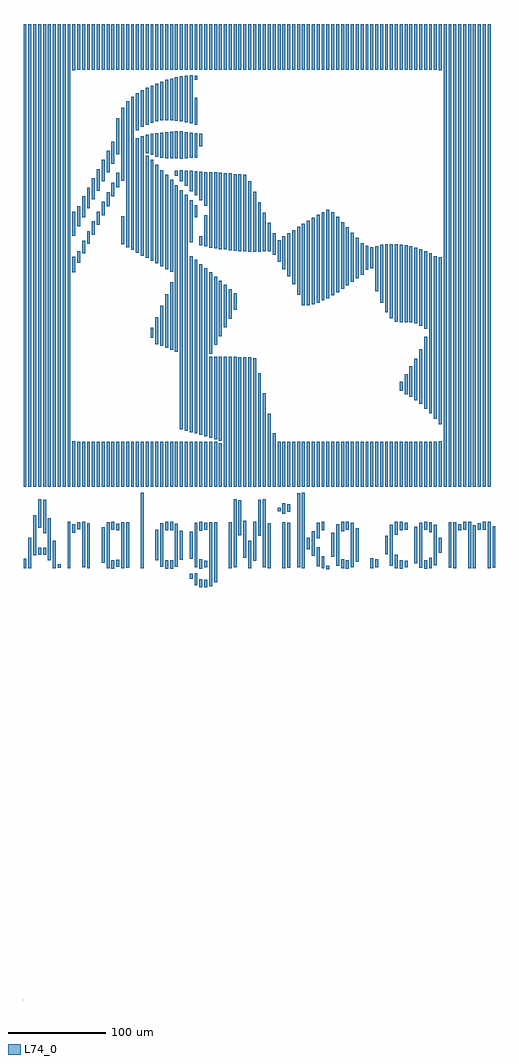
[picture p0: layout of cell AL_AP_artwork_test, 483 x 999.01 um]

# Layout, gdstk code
import gdstk
lib = gdstk.Library(unit=1e-6, precision=1e-09)
def R(c, l, rs):  # rectangles x0, y0, x1, y1
    for r in rs: c.add(gdstk.rectangle(r[:2], r[2:], *l))
def A(c, l, x, y, w, h, nx, ny, dx, dy):  # array of equal rectangles
    R(c, l, [(x+i*dx, y+j*dy, x+i*dx+w, y+j*dy+h) for i in range(nx) for j in range(ny)])
L74_0 = (74, 0)

al_ap_artwork_test = lib.new_cell('AL_AP_artwork_test')
A(al_ap_artwork_test, L74_0, 0.12, 0.985, 0.003, 0.003, 18, 1, 0.005, 0)
A(al_ap_artwork_test, L74_0, 0.12, 0.99, 0.003, 0.003, 21, 1, 0.005, 0)
A(al_ap_artwork_test, L74_0, 0, 526.5, 3, 473.5, 10, 1, 5, 0)
A(al_ap_artwork_test, L74_0, 55, 526.5, 3, 46, 29, 1, 5, 0)
A(al_ap_artwork_test, L74_0, 205, 526.5, 3, 133, 3, 1, 5, 0)
A(al_ap_artwork_test, L74_0, 220, 526.5, 3, 132.5, 3, 1, 5, 0)
A(al_ap_artwork_test, L74_0, 260, 526.5, 3, 46, 33, 1, 5, 0)
A(al_ap_artwork_test, L74_0, 430, 526.5, 3, 473.5, 10, 1, 5, 0)
A(al_ap_artwork_test, L74_0, 55, 953, 3, 47, 74, 1, 5, 0)
R(al_ap_artwork_test, L74_0, [(180,423.5,183,431.5), (185,423.5,188,431), (190,424.5,193,490), (175,425.5,178,438), (195,428.5,198,490), (170,432,173,437.5), (310,442,313,445.5), (90,442.5,93,451), (145,442.5,148,451), (150,442.5,153,451), (180,442.5,183,452), (330,442.5,333,451), (385,442.5,388,451), (410,442.5,413,451), (0,443,3,452.5), (5,443,8,474), (30,443,33,471), (45,443,48,490.5), (65,443,68,489), (85,443,88,490), (100,443,103,490), (120,443,123,520), (210,443,213,490), (230,443,233,471), (250,443,253,489), (265,443,268,490), (285,443,288,520), (305,443,308,455), (325,443,328,452), (355,443,358,453), (380,443,383,456.5), (415,443,418,453.5), (440,443,443,490), (455,443,458,490.5), (460,443,463,487), (475,443,478,490.5), (35,443.5,38,447), (105,443.5,108,490), (270,443.5,273,489.5), (405,443.5,408,489.5), (435,443.5,438,490), (480,443.5,483,486), (60,444,63,490.5), (175,444,178,489.5), (185,444,188,450.5), (215,444,218,513.5), (245,444,248,513.5), (280,444,283,519.5), (335,444,338,489.5), (360,444,363,452), (390,444,393,450.5), (95,444.5,98,451.5), (140,444.5,143,489), (155,444.5,158,488.5), (300,445,303,464.5), (320,445.5,323,488), (375,445.5,378,487.5), (420,446,423,487.5), (400,448,403,485.5), (80,448.5,83,485), (340,449.5,343,484), (235,450.5,238,490.5), (25,451,28,494), (135,451,138,482.5), (160,451.5,163,481.5), (170,452.5,173,480.5), (225,453.5,228,491.5), (315,454.5,318,479), (295,455.5,298,481), (10,456,13,497), (15,456.5,18,464), (20,456.5,23,464), (370,457,373,476), (425,459,428,474), (290,462.5,293,474), (300,473.5,303,489.5), (240,476,243,513), (220,476.5,223,512.5), (380,477,383,490.5), (20,478.5,23,513), (50,479,53,488), (415,480,418,490), (325,481,328,490.5), (180,481.5,183,490.5), (95,482,98,488.5), (145,482,148,490.5), (150,482,153,490.5), (305,482,308,490.5), (385,482,388,490.5), (445,482,448,488), (90,482.5,93,490.5), (185,482.5,188,489.5), (330,482.5,333,490.5), (390,482.5,393,489.5), (410,482.5,413,490.5), (450,482.5,453,490.5), (465,482.5,468,489), (470,482.5,473,490.5), (55,483,58,490), (15,484.5,18,513.5), (265,498.5,268,509.5), (270,500.5,273,508.5), (260,501.5,263,505), (50,526.5,53,573), (200,526.5,203,571), (235,526.5,238,658), (240,526.5,243,642.5), (245,526.5,248,622), (250,526.5,253,601), (255,526.5,258,581), (425,526.5,428,573), (200,573.5,203,659.5), (195,575,198,659.5), (190,576.5,193,659.5), (185,578,188,750), (180,579.5,183,754), (175,581,178,758.5), (170,582,173,762.5), (165,583.5,168,825), (160,585,163,830), (425,590.5,428,761), (420,596,423,762.5), (415,601.5,418,765.5), (410,606,413,680), (405,611.5,408,667), (400,615,403,657.5), (395,618.5,398,649.5), (390,621,393,641.5), (385,624.5,388,634), (190,662.5,193,746), (155,664.5,158,835), (150,666.5,153,735.5), (145,668.5,148,723.5), (140,670.5,143,711.5), (195,671.5,198,741.5), (135,672,138,700), (130,679,133,689), (200,680.5,203,737), (410,688,413,767.5), (205,689.5,208,733), (405,691,408,769.5), (400,693.5,403,771), (385,694.5,388,774), (390,694.5,393,773.5), (395,694.5,398,772.5), (380,695,383,774.5), (210,698.5,213,728.5), (375,699,378,774.5), (370,705,373,774.5), (215,707.5,218,724.5), (285,712,288,795.5), (290,712,293,798.5), (295,713,298,801.5), (300,714.5,303,804.5), (365,714.5,368,774), (305,717,308,807.5), (310,719.5,313,810), (315,722.5,318,807.5), (280,723,283,792.5), (320,725.5,323,802.5), (360,726.5,363,772.5), (325,729,328,797), (330,732.5,333,792), (275,733.5,278,789), (335,736,338,786.5), (340,740,343,781), (270,742,273,786), (345,743.5,348,775.5), (50,746,53,762), (150,746.5,153,840.5), (350,748.5,353,773), (145,749,148,845.5), (265,749,268,782.5), (355,750,358,771.5), (140,752,143,850.5), (135,755,138,856), (55,755.5,58,767.5), (260,756.5,263,778.5), (130,757.5,133,861), (125,760.5,128,865), (120,763,123,885), (255,764,258,786), (60,765.5,63,778), (115,766,118,883), (230,767,233,839), (235,767,238,828.5), (240,767,243,817.5), (220,767.5,223,846), (225,767.5,228,845.5), (245,767.5,248,807), (250,767.5,253,796.5), (215,768,218,846), (210,768.5,213,847), (110,769,113,925.5), (200,769.5,203,847.5), (205,769.5,208,847), (195,770.5,198,848), (190,771,193,848), (105,771.5,108,921), (185,772.5,188,804), (180,773.5,183,782.5), (100,774.5,103,803), (65,775,68,788), (170,776.5,173,819.5), (50,783.5,53,808), (70,784.5,73,798), (55,793,58,813.5), (75,794.5,78,808), (60,802,63,823.5), (175,802,178,814.5), (80,804,83,818), (65,811.5,68,832.5), (85,813.5,88,828), (185,814,188,848.5), (180,819.5,183,849), (70,820.5,73,842), (90,823.5,93,837.5), (175,824.5,178,849.5), (170,829,173,850), (75,829.5,78,851.5), (95,833,98,847.5), (165,834.5,168,850), (80,839,83,861), (160,839,163,850.5), (100,839.5,103,914.5), (155,844.5,158,850), (85,848,88,870.5), (90,857,93,879.5), (160,862,163,890), (145,862.5,148,889), (150,862.5,153,889.5), (155,862.5,158,890), (165,862.5,168,889), (140,863,143,888.5), (170,863,173,888.5), (175,863,178,888), (135,864,138,888), (130,866,133,887.5), (95,866.5,98,903.5), (125,867.5,128,886.5), (180,875,183,887.5), (115,891.5,118,929), (120,895,123,932), (125,897,128,935), (175,897,178,924.5), (170,898.5,173,947.5), (130,899,133,937), (165,899.5,168,947), (135,900.5,138,939), (160,900.5,163,946.5), (155,901,158,945.5), (140,901.5,143,941), (145,901.5,148,943), (150,901.5,153,944), (175,943,178,947), (50,952.5,53,1000), (425,952.5,428,1000)])

lib.write_gds('AL_AP_artwork_test.gds')
